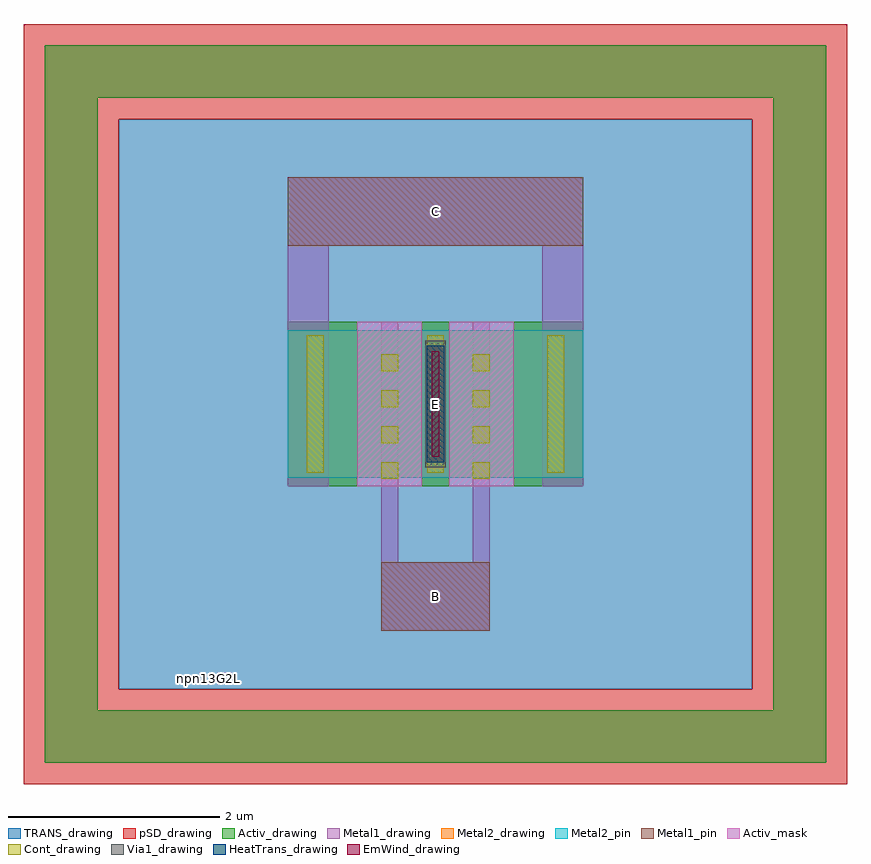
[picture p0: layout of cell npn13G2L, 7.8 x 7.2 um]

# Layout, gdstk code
import gdstk
lib = gdstk.Library(unit=1e-6, precision=1e-09)
def R(c, l, rs):  # rectangles x0, y0, x1, y1
    for r in rs: c.add(gdstk.rectangle(r[:2], r[2:], *l))
def A(c, l, x, y, w, h, nx, ny, dx, dy):  # array of equal rectangles
    R(c, l, [(x+i*dx, y+j*dy, x+i*dx+w, y+j*dy+h) for i in range(nx) for j in range(ny)])
def P(c, l, *ps):  # polygons
    for p in ps: c.add(gdstk.Polygon(p, *l))
Activ_drawing = (1, 0)
Activ_mask = (1, 20)
Cont_drawing = (6, 0)
Metal1_drawing = (8, 0)
Metal1_pin = (8, 2)
Metal2_drawing = (10, 0)
Metal2_pin = (10, 2)
pSD_drawing = (14, 0)
Via1_drawing = (19, 0)
TRANS_drawing = (26, 0)
EmWind_drawing = (33, 0)
HeatTrans_drawing = (51, 0)

npn13g2l = lib.new_cell('npn13G2L')
R(npn13g2l, Activ_drawing, [(2.5,2.82,3.16,4.38), (3.77,2.82,4.03,4.38), (4.64,2.82,5.3,4.38)])
P(npn13g2l, Activ_drawing, [(0.2,0.2),(0.2,7),(7.1,7),(7.1,6.5),(0.7,6.5),(0.7,0.7),(7.1,0.7),(7.1,7),(7.6,7),(7.6,0.2)])
R(npn13g2l, Activ_mask, [(3.16,2.82,3.77,4.38), (4.03,2.82,4.64,4.38)])
A(npn13g2l, Cont_drawing, 3.385, 2.89, 0.16, 0.16, 1, 4, 0, 0.34)
A(npn13g2l, Cont_drawing, 4.255, 2.89, 0.16, 0.16, 1, 4, 0, 0.34)
A(npn13g2l, Cont_drawing, 2.68, 2.95, 0.16, 1.3, 3, 1, 1.14, 0)
R(npn13g2l, Metal1_drawing, [(3.385,1.45,4.415,2.1), (3.385,2.1,3.545,4.38), (4.255,2.1,4.415,4.38), (2.5,2.82,2.89,5.1), (4.91,2.82,5.3,5.1), (3.77,2.9,4.03,4.3), (2.5,5.1,5.3,5.75)])
R(npn13g2l, Metal1_pin, [(3.385,1.45,4.415,2.1), (2.5,5.1,5.3,5.75)])
R(npn13g2l, Metal2_drawing, [(2.5,2.9,5.3,4.3)])
R(npn13g2l, Metal2_pin, [(2.5,2.9,5.3,4.3)])
P(npn13g2l, pSD_drawing, [(0,0),(0,7.2),(6.9,7.2),(6.9,6.3),(0.9,6.3),(0.9,0.9),(6.9,0.9),(6.9,7.2),(7.8,7.2),(7.8,0)])
R(npn13g2l, Via1_drawing, [(3.805,3,3.995,4.2)])
R(npn13g2l, TRANS_drawing, [(0.9,0.9,6.9,6.3)])
R(npn13g2l, EmWind_drawing, [(3.865,3.1,3.935,4.1)])
R(npn13g2l, HeatTrans_drawing, [(3.815,3.05,3.985,4.15)])
npn13g2l.add(gdstk.Label('E', (3.9,3.6), layer=63, texttype=0))
npn13g2l.add(gdstk.Label('B', (3.9,1.775), layer=63, texttype=0))
npn13g2l.add(gdstk.Label('C', (3.9,5.425), layer=63, texttype=0))
npn13g2l.add(gdstk.Label('npn13G2L', (1.75,1), layer=63, texttype=0))
npn13g2l.add(gdstk.Label('Ae=1*1*1.00*0.07', (1.5,1), layer=63, texttype=0))
npn13g2l.add(gdstk.Label('npn13G2L', (3.9,3.6), layer=51, texttype=0))

lib.write_gds('npn13G2L.gds')
